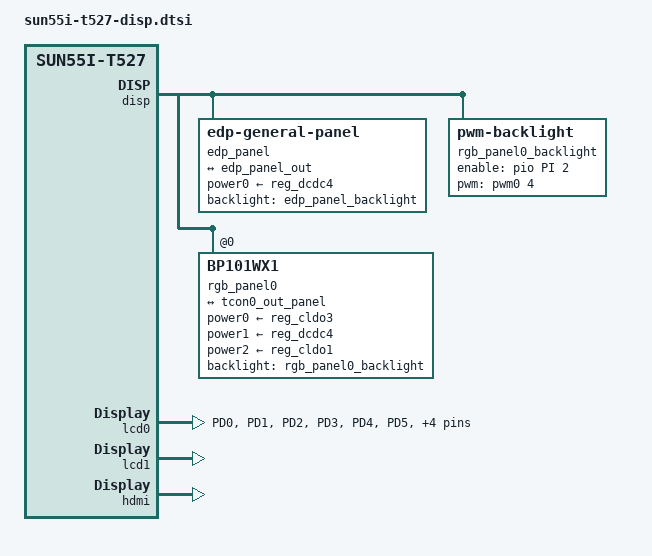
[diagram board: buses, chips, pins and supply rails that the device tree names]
&pio {
	rgb24_pins_a: rgb24@0 {
		pins = "PD0", "PD1", "PD2", "PD3", "PD4", "PD5", "PD6", "PD7", "PD8", "PD9", \
			"PD10", "PD11", "PD12", "PD13", "PD14", "PD15", "PD16", "PD17", "PD18", "PD19", \
			"PD20", "PD21", "PD22","PD23","PD24","PD25","PD26","PD27";
		      function = "dpss";
		      drive-strength = <30>;
	};

	rgb24_pins_b: rgb24@1 {
		pins = "PD0", "PD1", "PD2", "PD3", "PD4", "PD5", "PD6", "PD7", "PD8", "PD9", \
			"PD10", "PD11", "PD12", "PD13", "PD14", "PD15", "PD16", "PD17", "PD18", "PD19", \
			"PD20", "PD21", "PD22", "PD23","PD24","PD25","PD26","PD27";
		      function = "gpio_in";
	};

	lvds0_pins_a: lvds0@0 {
		pins = "PD0", "PD1", "PD2", "PD3", "PD4", "PD5", "PD6", "PD7", "PD8", "PD9";
		      function = "lvds0";
		      drive-strength = <30>;
	};

	lvds0_pins_b: lvds0@1 {
		      pins = "PD0", "PD1", "PD2", "PD3", "PD4", "PD5", "PD6", "PD7", "PD8", "PD9";
		      function = "gpio_in";
	};

};

/*----------------------------------------------------------------------------------
disp init configuration

disp_mode             (0:screen0<screen0,fb0>)
screenx_output_type   (0:none; 1:lcd; 2:tv; 3:hdmi;5:vdpo)
screenx_output_mode   (used for hdmi output, 0:480i 1:576i 2:480p 3:576p 4:720p50)
                      (5:720p60 6:1080i50 7:1080i60 8:1080p24 9:1080p50 10:1080p60)
screenx_output_format (for hdmi, 0:RGB 1:yuv444 2:yuv422 3:yuv420)
screenx_output_bits   (for hdmi, 0:8bit 1:10bit 2:12bit 2:16bit)
screenx_output_eotf   (for hdmi, 0:reserve 4:SDR 16:HDR10 18:HLG)
screenx_output_cs     (for hdmi, 0:undefined  257:BT709 260:BT601  263:BT2020)
screenx_output_dvi_hdmi (for hdmi, 0:undefined 1:dvi mode 2:hdmi mode)
screen0_output_range   (for hdmi, 0:default 1:full 2:limited)
screen0_output_scan    (for hdmi, 0:no data 1:overscan 2:underscan)
screen0_output_aspect_ratio  (for hdmi, 8-same as original picture 9-4:3 10-16:9 11-14:9)
fbx format            (4:RGB655 5:RGB565 6:RGB556 7:ARGB1555 8:RGBA5551 9:RGB888 10:ARGB8888 12:ARGB4444)
fbx pixel sequence    (0:ARGB 1:BGRA 2:ABGR 3:RGBA)
fb0_scaler_mode_enable(scaler mode enable, used FE)
fbx_width,fbx_height  (framebuffer horizontal/vertical pixels, fix to output resolution while equal 0)
lcdx_backlight        (lcd init backlight,the range:[0,256],default:197
lcdx_yy               (lcd init screen bright/contrast/saturation/hue, value:0~100, default:50/50/57/50)
lcd0_contrast         (LCD contrast, 0~100)
lcd0_saturation       (LCD saturation, 0~100)
lcd0_hue              (LCD hue, 0~100)
framebuffer software rotation setting:
disp_rotation_used:   (0:disable; 1:enable,you must set fbX_width to lcd_y,
set fbX_height to lcd_x)
degreeX:              (X:screen index; 0:0 degree; 1:90 degree; 3:270 degree)
degreeX_Y:            (X:screen index; Y:layer index 0~15; 0:0 degree; 1:90 degree; 3:270 degree)
devX_output_type : config output type in bootGUI framework in UBOOT-2018.
				   (0:none; 1:lcd; 2:tv; 4:hdmi;)
devX_output_mode : config output resolution(see include/video/sunxi_display2.h) of bootGUI framework in UBOOT-2018
devX_screen_id   : config display index of bootGUI framework in UBOOT-2018
devX_do_hpd      : whether do hpd detectation or not in UBOOT-2018
chn_cfg_mode     : Hardware DE channel allocation config. 0:single display with 6
				   channel, 1:dual display with 4 channel in main display and 2 channel in second
                   display, 2:dual display with 3 channel in main display and 3 channel in second
                   in display.
----------------------------------------------------------------------------------*/
&disp {
    disp_init_enable         = <1>;
    disp_mode                = <0>;

    screen0_output_type      = <1>;
    screen0_output_mode      = <4>;
    screen0_to_lcd_index     = <0>;

    screen1_output_type      = <3>;
    screen1_output_mode      = <5>;
    screen1_to_lcd_index     = <2>;

    screen1_output_format    = <0>;
    screen1_output_bits      = <0>;
    screen1_output_eotf      = <4>;
    screen1_output_cs        = <257>;
    screen1_output_dvi_hdmi  = <2>;
    screen1_output_range     = <2>;
    screen1_output_scan      = <0>;
    screen1_output_aspect_ratio = <8>;

    dev0_output_type         = <1>;
    dev0_output_mode         = <4>;
    dev0_screen_id           = <0>;
    dev0_do_hpd              = <0>;

    dev1_output_type         = <4>;
    dev1_output_mode         = <10>;
    dev1_screen_id           = <1>;
    dev1_do_hpd              = <1>;

    def_output_dev           = <0>;
    hdmi_mode_check          = <1>;

    display_device_num          = <3>;

    primary_display_type        = "LCD";
    primary_de_id               = <0>;
    primary_framebuffer_width   = <1280>;
    primary_framebuffer_height  = <800>;
    primary_dpix                = <213>;
    primary_dpiy                = <213>;

    extend0_display_type        = "HDMI";
    extend0_de_id               = <1>;
    extend0_framebuffer_width   = <1920>;
    extend0_framebuffer_height  = <1080>;
    extend0_dpix                = <160>;
    extend0_dpiy                = <160>;

    extend1_display_type        = "DP";
    extend1_de_id               = <1>;
    extend1_framebuffer_width   = <1920>;
    extend1_framebuffer_height  = <1080>;
    extend1_dpix                = <160>;
    extend1_dpiy                = <160>;

    fb_format                = <0>;
    fb_num                   = <2>;
    /*<disp channel layer zorder>*/
    fb0_map                  = <0 1 0 16>;
    fb0_width                = <1280>;
    fb0_height               = <800>;
    /*<disp channel layer zorder>*/
    fb1_map                  = <1 1 0 16>;
    fb1_width                = <1920>;
    fb1_height               = <1080>;
    /*<disp channel layer zorder>*/
    fb2_map                  = <1 0 0 16>;
    fb2_width                = <1280>;
    fb2_height               = <720>;
    /*<disp channel layer zorder>*/
    fb3_map                  = <1 1 0 16>;
    fb3_width                = <300>;
    fb3_height               = <300>;

    chn_cfg_mode             = <3>;
    disp_para_zone           = <1>;

    /* dual display clock constraints:
       1. two tcons cannot share a parent clock.
       2. when dsi uses ccu clock, combphy and corresponding tcon use the
        same parent clock.
    */
    assigned-clocks = <&ccu CLK_DE>,
                  <&ccu CLK_VO0_TCONLCD0>,
                  <&ccu CLK_VO0_TCONLCD1>,
                  <&ccu CLK_VO1_TCONLCD0>,
                  <&ccu CLK_TCONTV>,
                  <&ccu CLK_TCONTV1>,
                  <&ccu CLK_COMBPHY0>,
                  <&ccu CLK_COMBPHY1>,
                  <&ccu CLK_DSI0>,
                  <&ccu CLK_DSI1>,
                  <&ccu CLK_EDP>;
    assigned-clock-parents = <&ccu CLK_PLL_VIDEO3_4X>,
                         <&ccu CLK_PLL_VIDEO0_4X>,
                         <&ccu CLK_PLL_VIDEO1_4X>,
                         <&ccu CLK_PLL_VIDEO1_4X>,
                         <&ccu CLK_PLL_VIDEO1_4X>,
                         <&ccu CLK_PLL_VIDEO1_4X>,
                         <&ccu CLK_PLL_VIDEO0_4X>,
                         <&ccu CLK_PLL_VIDEO1_4X>,
                         <&ccu CLK_PLL_PERI0_150M>,
                         <&ccu CLK_PLL_PERI0_150M>,
                         <&ccu CLK_PLL_VIDEO1_4X>;
    assigned-clock-rates = <600000000>;

    cldo3-supply = <&reg_cldo3>;
    dcdc4-supply = <&reg_dcdc4>;
    cldo1-supply = <&reg_cldo1>;

	pwms = <&pwm0 4 5000000 0>, <&pwm0 5 5000000 0>;
	pwm-names = "lvds0_backlight", "lvds2_backlight";

    power-domains = <&pd1 A523_PCK_DE>, <&pd1 A523_PCK_VO0>, <&pd1 A523_PCK_VO1>;
    power-domain-names = "pd_de", "pd_vo0", "pd_vo1";

	pinctrl-names = "active", "sleep";
	pinctrl-0 = <&pwm0_0_pin_active>;
	pinctrl-1 = <&pwm0_0_pin_sleep>;

	#address-cells = <1>;
	#size-cells = <0>;
	edp_panel_backlight: edp_backlight {
		compatible = "pwm-backlight";
		status = "disabled";
		brightness-levels = <
			  0   1   2   3   4   5   6   7
			  8   9  10  11  12  13  14  15
			 16  17  18  19  20  21  22  23
			 24  25  26  27  28  29  30  31
			 32  33  34  35  36  37  38  39
			 40  41  42  43  44  45  46  47
			 48  49  50  51  52  53  54  55
			 56  57  58  59  60  61  62  63
			 64  65  66  67  68  69  70  71
			 72  73  74  75  76  77  78  79
			 80  81  82  83  84  85  86  87
			 88  89  90  91  92  93  94  95
			 96  97  98  99 100 101 102 103
			104 105 106 107 108 109 110 111
			112 113 114 115 116 117 118 119
			120 121 122 123 124 125 126 127
			128 129 130 131 132 133 134 135
			136 137 138 139 140 141 142 143
			144 145 146 147 148 149 150 151
			152 153 154 155 156 157 158 159
			160 161 162 163 164 165 166 167
			168 169 170 171 172 173 174 175
			176 177 178 179 180 181 182 183
			184 185 186 187 188 189 190 191
			192 193 194 195 196 197 198 199
			200 201 202 203 204 205 206 207
			208 209 210 211 212 213 214 215
			216 217 218 219 220 221 222 223
			224 225 226 227 228 229 230 231
			232 233 234 235 236 237 238 239
			240 241 242 243 244 245 246 247
			248 249 250 251 252 253 254 255>;
		default-brightness-level = <200>;
		enable-gpios = <&pio PI 5 GPIO_ACTIVE_HIGH>;
		/* power-supply = <&reg_backlight_12v>; */
		pwms = <&pwm0 5 5000000 0>;
	};

	edp_panel: edp_panel {
		compatible = "edp-general-panel";
		status = "okay";
		power0-supply = <&reg_dcdc4>;

		backlight = <&edp_panel_backlight>;

		panel-timing {
			clock-frequency = <348577920>; /* pixel clock */
			hactive = <2560>;
			hback-porch = <120>;
			hfront-porch = <88>;
			hsync-len = <32>;
			vactive = <1600>;
			vback-porch = <71>;
			vfront-porch = <28>;
			vsync-len = <5>;
			/* hor_sync_polarity */
			hsync-active = <1>;
			/* ver_sync_polarity */
			vsync-active = <1>;

			// unused now
			/*
			de-active = <1>;
			pixelclk-active = <1>;
			syncclk-active = <0>;
			interlaced;
			doublescan;
			doubleclk;
			*/
		};
		ports {
			#address-cells = <1>;
			#size-cells = <0>;
			panel_in: port@0 {
				#address-cells = <1>;
				#size-cells = <0>;
				reg = <0>;
				edp_panel_in: endpoint@0 {
					reg = <0>;
					remote-endpoint = <&edp_panel_out>;
				};
			};
		};
	};

	rgb_panel0_backlight: backlight0 {
		compatible = "pwm-backlight";
		status = "okay";
		brightness-levels = <
			  0   1   2   3   4   5   6   7
			  8   9  10  11  12  13  14  15
			 16  17  18  19  20  21  22  23
			 24  25  26  27  28  29  30  31
			 32  33  34  35  36  37  38  39
			 40  41  42  43  44  45  46  47
			 48  49  50  51  52  53  54  55
			 56  57  58  59  60  61  62  63
			 64  65  66  67  68  69  70  71
			 72  73  74  75  76  77  78  79
			 80  81  82  83  84  85  86  87
			 88  89  90  91  92  93  94  95
			 96  97  98  99 100 101 102 103
			104 105 106 107 108 109 110 111
			112 113 114 115 116 117 118 119
			120 121 122 123 124 125 126 127
			128 129 130 131 132 133 134 135
			136 137 138 139 140 141 142 143
			144 145 146 147 148 149 150 151
			152 153 154 155 156 157 158 159
			160 161 162 163 164 165 166 167
			168 169 170 171 172 173 174 175
			176 177 178 179 180 181 182 183
			184 185 186 187 188 189 190 191
			192 193 194 195 196 197 198 199
			200 201 202 203 204 205 206 207
			208 209 210 211 212 213 214 215
			216 217 218 219 220 221 222 223
			224 225 226 227 228 229 230 231
			232 233 234 235 236 237 238 239
			240 241 242 243 244 245 246 247
			248 249 250 251 252 253 254 255>;
		default-brightness-level = <200>;
		enable-gpios = <&pio PI 2 GPIO_ACTIVE_HIGH>;
		pwms = <&pwm0 4 50000 0>;
	};

	rgb_panel0: panel@0 {
		compatible = "BP101WX1";
		status = "okay";
		reg = <0>;
		power0-supply = <&reg_cldo3>;
		power1-supply = <&reg_dcdc4>;
		power2-supply = <&reg_cldo1>;

		backlight = <&rgb_panel0_backlight>;

		lcd_if              = <0>;
		lcd_width           = <150>;
		lcd_height          = <94>;

		pinctrl-0 = <&rgb18_pins_a>;
		pinctrl-1 = <&rgb18_pins_b>;
		pinctrl-names = "active","sleep";

		panel-timing {
			clock-frequency = <74871600>; /* pixel clock */
			hback-porch = <88>;
			hactive = <1280>;
			hfront-porch = <83>;
			hsync-len = <18>;
			vback-porch = <23>;
			vactive = <800>;
			vfront-porch = <37>;
			vsync-len = <10>;

			// unused now
			/*
			hsync-active = <0>;
			vsync-active = <0>;
			de-active = <1>;
			pixelclk-active = <1>;
			*/
		};
		ports {
			#address-cells = <1>;
			#size-cells = <0>;
			rgb_panel0_in: port@0 {
				#address-cells = <1>;
				#size-cells = <0>;
				reg = <0>;
				rgb_panel0_in_lcd0: endpoint@0 {
					reg = <0>;
					remote-endpoint = <&tcon0_out_panel>;
				};
			};
		};
	};

	lvds_panel1_backlight: backlight1 {
		compatible = "pwm-backlight";
		status = "disabled";
		brightness-levels = <
			  0   1   2   3   4   5   6   7
			  8   9  10  11  12  13  14  15
			 16  17  18  19  20  21  22  23
			 24  25  26  27  28  29  30  31
			 32  33  34  35  36  37  38  39
			 40  41  42  43  44  45  46  47
			 48  49  50  51  52  53  54  55
			 56  57  58  59  60  61  62  63
			 64  65  66  67  68  69  70  71
			 72  73  74  75  76  77  78  79
			 80  81  82  83  84  85  86  87
			 88  89  90  91  92  93  94  95
			 96  97  98  99 100 101 102 103
			104 105 106 107 108 109 110 111
			112 113 114 115 116 117 118 119
			120 121 122 123 124 125 126 127
			128 129 130 131 132 133 134 135
			136 137 138 139 140 141 142 143
			144 145 146 147 148 149 150 151
			152 153 154 155 156 157 158 159
			160 161 162 163 164 165 166 167
			168 169 170 171 172 173 174 175
			176 177 178 179 180 181 182 183
			184 185 186 187 188 189 190 191
			192 193 194 195 196 197 198 199
			200 201 202 203 204 205 206 207
			208 209 210 211 212 213 214 215
			216 217 218 219 220 221 222 223
			224 225 226 227 228 229 230 231
			232 233 234 235 236 237 238 239
			240 241 242 243 244 245 246 247
			248 249 250 251 252 253 254 255>;
		default-brightness-level = <200>;
		enable-gpios = <&pio PI 5 GPIO_ACTIVE_HIGH>;
		pwms = <&pwm0 5 5000000 0>;
	};

	lvds_panel1: panel@1 {
		compatible = "BP101WX1";
		status = "disabled";
		reg = <1>;
		power0-supply = <&reg_cldo3>;
		power1-supply = <&reg_dcdc4>;

		backlight = <&lvds_panel1_backlight>;

		lcd_if              = <3>;
		lcd_width           = <150>;
		lcd_height          = <94>;

		pinctrl-0 = <&lvds2_pins_a>;
		pinctrl-1 = <&lvds2_pins_b>;
		pinctrl-names = "active","sleep";

		panel-timing {
			clock-frequency = <74871600>; /* pixel clock */
			hback-porch = <88>;
			hactive = <1280>;
			hfront-porch = <83>;
			hsync-len = <18>;
			vback-porch = <23>;
			vactive = <800>;
			vfront-porch = <37>;
			vsync-len = <10>;
			// unused now
			/*
			hsync-active = <0>;
			vsync-active = <0>;
			de-active = <1>;
			pixelclk-active = <1>;
			*/
		};
		ports {
			#address-cells = <1>;
			#size-cells = <0>;
			lvds_panel1_in: port@0 {
				#address-cells = <1>;
				#size-cells = <0>;
				reg = <0>;
				lvds_panel1_in_lcd2: endpoint@0 {
					reg = <0>;
					remote-endpoint = <&tcon4_out_panel>;
				};
			};
		};
	};
};


&drm_edp {
	status = "disabled";

	edp_ssc_en = <0>;
	edp_ssc_mode = <0>;
	edp_psr_support = <0>;
	edp_colordepth = <8>; /* 6/8/10/12/16 */
	edp_color_fmt = <0>; /* 0:RGB  1: YUV444  2: YUV422 */

	lane1_sw = <0>;
	lane1_pre = <0>;
	lane2_sw = <0>;
	lane2_pre = <0>;
	lane3_sw = <0>;
	lane3_pre = <0>;
	efficient_training = <0>;

	sink_capacity_prefer = <1>;
	edid_timings_prefer = <1>;
	timings_fixed = <1>;

	vcc-edp-supply = <&reg_bldo3>;
	vdd-edp-supply = <&reg_dcdc2>;
	panel = <&edp_panel>;
	ports {
		edp_out: port@1 {
			edp_panel_out: endpoint@0 {
				reg = <0>;
				remote-endpoint = <&edp_panel_in>;
			};
		};
	};
};

&dlcd0 {
	status = "disabled";
	panel = <&rgb_panel0>;
	ports {
		tcon0_out: port@1 {
			tcon0_out_panel: endpoint@2 {
				reg = <2>;
				remote-endpoint = <&rgb_panel0_in_lcd0>;
			};
		};
	};
};


&dlcd2 {
	status = "disabled";
	panel = <&lvds_panel1>;
	ports {
		tcon4_out: port@1 {
			tcon4_out_panel: endpoint@0 {
				reg = <0>;
				remote-endpoint = <&lvds_panel1_in_lcd2>;
			};
		};
	};
};


&lcd0 {
    lcd_used            = <1>;

    lcd_driver_name     = "bp101wx1";
    lcd_backlight       = <50>;
    lcd_if              = <3>;

    lcd_x               = <1280>;
    lcd_y               = <800>;
    lcd_width           = <150>;
    lcd_height          = <94>;
    lcd_dclk_freq       = <75>;

    lcd_pwm_used        = <1>;
    lcd_pwm_ch          = <4>;
    lcd_pwm_freq        = <50000>;
    lcd_pwm_pol         = <0>;
    lcd_pwm_max_limit   = <255>;
	lcd_pwm_name	    = "lvds0_backlight";

    lcd_hbp             = <88>;
    lcd_ht              = <1451>;
    lcd_hspw            = <18>;
    lcd_vbp             = <23>;
    lcd_vt              = <860>;
    lcd_vspw            = <10>;

    lcd_lvds_if         = <0>;
    lcd_lvds_colordepth = <0>;
    lcd_lvds_mode       = <0>;
    lcd_frm             = <0>;
    lcd_hv_clk_phase    = <0>;
    lcd_hv_sync_polarity= <0>;
    lcd_gamma_en        = <0>;
    lcd_bright_curve_en = <0>;
    lcd_cmap_en         = <0>;
    lcd_fsync_en        = <0>;
	lcd_fsync_act_time  = <1000>;
	lcd_fsync_dis_time  = <1000>;
    lcd_fsync_pol       = <0>;
	lcd_start_delay     = <5>;
    deu_mode            = <0>;
    lcdgamma4iep        = <22>;
    smart_color         = <90>;

    lcd_pin_power = "cldo3";
    lcd_power = "dcdc4";
    lcd_power1 = "cldo1";
    lcd_gpio_0 = <&pio PI 2 GPIO_ACTIVE_HIGH>; //reset
    lcd_bl_en        = <&pio PI 2 GPIO_ACTIVE_HIGH>;

    pinctrl-0 = <&lvds0_pins_a>;
    pinctrl-1 = <&lvds0_pins_b>;
    lvds0_pinctrl-0 = <&lvds0_pins_a>;
    lvds0_pinctrl-1 = <&lvds0_pins_b>;
    lvds1_pinctrl-0 = <&lvds1_pins_a>;
    lvds1_pinctrl-1 = <&lvds1_pins_b>;
    dsi0_pinctrl-0 = <&dsi0_4lane_pins_a>;
    dsi0_pinctrl-1 = <&dsi0_4lane_pins_b>;
    dual_dsi_pinctrl-0 = <&dsi0_4lane_pins_a>, <&dsi1_4lane_pins_a>;
    dual_dsi_pinctrl-1 = <&dsi0_4lane_pins_b>, <&dsi1_4lane_pins_b>;
    dual_lvds0_pinctrl-0 = <&lvds0_pins_a>, <&lvds1_pins_a>;
    dual_lvds0_pinctrl-1 = <&lvds0_pins_b>, <&lvds1_pins_b>;
};

&lcd1 {
    lcd_used            = <1>;
    status              = "okay";
    lcd_driver_name     = "SQ101D_Q5DI404_84H501";
    lcd_backlight       = <200>;
    lcd_if              = <4>;

    lcd_x               = <1200>;
    lcd_y               = <1920>;
    lcd_width           = <136>;
    lcd_height          = <217>;
    lcd_dclk_freq       = <157>;

    lcd_pwm_used        = <1>;
    lcd_pwm_ch          = <0>;
    lcd_pwm_freq        = <50000>;
    lcd_pwm_pol         = <0>;
    lcd_pwm_max_limit   = <255>;

    lcd_hbp             = <50>;
    lcd_ht              = <1330>;
    lcd_hspw            = <10>;
    lcd_vbp             = <20>;
    lcd_vt              = <1960>;
    lcd_vspw            = <4>;

    lcd_frm             = <0>;
    lcd_gamma_en        = <0>;
    lcd_bright_curve_en = <0>;
    lcd_cmap_en         = <0>;
    lcd_start_delay     = <5>;

    deu_mode            = <0>;
    lcdgamma4iep        = <22>;
    smart_color         = <90>;

    lcd_dsi_if          = <0>;
    lcd_dsi_lane        = <4>;
    lcd_dsi_format      = <0>;
    lcd_dsi_te          = <0>;
    lcd_dsi_eotp        = <0>;

    lcd_power1 = "cldo4";
    lcd_power2 = "cldo1";

    // lcd_gpio_2 = <&pio PD 22 GPIO_ACTIVE_HIGH>; //reset

    pinctrl-0 = <&dsi1_4lane_pins_a>;
    pinctrl-1 = <&dsi1_4lane_pins_b>;

    // lcd_bl_en = <&pio PH 16 GPIO_ACTIVE_HIGH>;
    lcd_bl_0_percent        = <5>;
};

&lcd2 {
	lcd_used            = <0>;

    lcd_driver_name     = "bp101wx1";
    lcd_backlight       = <50>;
    lcd_if              = <3>;

    lcd_x               = <1280>;
    lcd_y               = <800>;
    lcd_width           = <150>;
    lcd_height          = <94>;
    lcd_dclk_freq       = <75>;

    lcd_pwm_used        = <1>;
    lcd_pwm_ch          = <5>;
    lcd_pwm_freq        = <50000>;
    lcd_pwm_pol         = <0>;
    lcd_pwm_max_limit   = <255>;
	lcd_pwm_name        = "lvds2_backlight";

    lcd_hbp             = <88>;
    lcd_ht              = <1451>;
    lcd_hspw            = <18>;
    lcd_vbp             = <23>;
    lcd_vt              = <860>;
    lcd_vspw            = <10>;

    lcd_lvds_if         = <0>;
    lcd_lvds_colordepth = <0>;
    lcd_lvds_mode       = <0>;
    lcd_frm             = <0>;
    lcd_hv_clk_phase    = <0>;
    lcd_hv_sync_polarity= <0>;
    lcd_gamma_en        = <0>;
    lcd_bright_curve_en = <0>;
    lcd_cmap_en         = <0>;
    lcd_fsync_en        = <0>;
    lcd_fsync_pol       = <0>;
    lcd_start_delay     = <5>;
    deu_mode            = <0>;
    lcdgamma4iep        = <22>;
    smart_color         = <90>;

    lcd_pin_power = "cldo3";
    lcd_power     = "dcdc4";
    /* lvds_power & other interface power */
    lcd_bl_en  = <&pio PI 5 GPIO_ACTIVE_HIGH>;
    pinctrl-0 = <&lvds2_pins_a>;
    pinctrl-1 = <&lvds2_pins_b>;
    lvds2_pinctrl-0 = <&lvds2_pins_a>;
    lvds2_pinctrl-1 = <&lvds2_pins_b>;
    lvds3_pinctrl-0 = <&lvds3_pins_a>;
    lvds3_pinctrl-1 = <&lvds3_pins_b>;
    dual_lvds1_pinctrl-0 = <&lvds2_pins_a>, <&lvds3_pins_a>;
    dual_lvds1_pinctrl-1 = <&lvds2_pins_b>, <&lvds3_pins_b>;
};

&edp0 {
	// use if hardware reset pin is need
	/* edp_hw_reset_pin = <&pio PH XX GPIO_ACTIVE_LOW>; */

	edp_ssc_en = <0>;
	edp_ssc_mode = <0>;
	edp_psr_support = <0>;
	edp_colordepth = <8>; /* 6/8/10/12/16 */
	edp_color_fmt = <0>; /* 0:RGB  1: YUV444  2: YUV422 */

	lane0_sw = <0>;
	lane0_pre = <0>;
	lane1_sw = <0>;
	lane1_pre = <0>;
	lane2_sw = <0>;
	lane2_pre = <0>;
	lane3_sw = <0>;
	lane3_pre = <0>;
	efficient_training = <0>;

	sink_capacity_prefer = <1>;
	edid_timings_prefer = <1>;
	timings_fixed = <1>;

	edp_panel_used = <1>;
	edp_panel_driver = "general_panel";
	edp_bl_en = <&pio PI 5 GPIO_ACTIVE_HIGH>;
	edp_pwm_used = <1>;
	edp_pwm_ch = <5>;
	edp_pwm_freq = <50000>;
	edp_pwm_pol = <0>;
	edp_default_backlight = <200>;
	edp_panel_power_0 = "edp-panel";

	vcc-edp-supply = <&reg_bldo3>;
	vdd-edp-supply = <&reg_dcdc2>;
	edp-panel-supply = <&reg_dcdc4>;
	status = "disabled";

};
&hdmi {
	hdmi_used = <1>;
	bldo3-supply = <&reg_bldo3>;
	hdmi_power0 = "bldo3";
	hdmi_power_cnt = <1>;
	hdmi_hdcp_enable = <1>;
	hdmi_hdcp22_enable = <0>;
	hdmi_cts_compatibility = <0>;
	hdmi_cec_support = <1>;
	hdmi_cec_super_standby = <1>;
	hdmi_skip_bootedid = <1>;

	ddc_en_io_ctrl = <0>;
	power_io_ctrl = <0>;

	inno_phy = <
		 25000 165000 0x01000102 0x1c1c1c1c 0x00000000 0x00000000
		165000 340000 0x01040506 0x1c1c1c1c 0x00000000 0x03030300
		340000 600000 0x010f0f0f 0x1c1c1c1c 0x00000000 0x00000000>;

	status = "okay";
};
